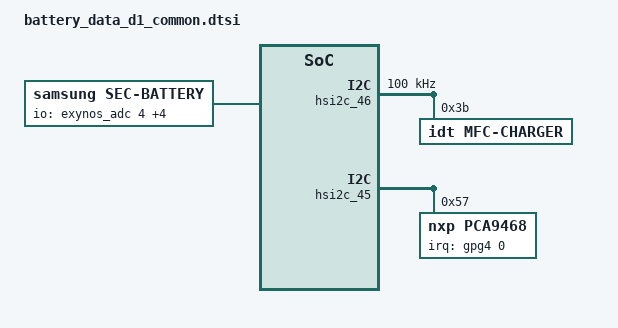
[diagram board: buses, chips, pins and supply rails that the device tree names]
/*
 * SAMSUNG UNIVERSAL9820 board device tree source
 *
 * Copyright (c) 2018 Samsung Electronics Co., Ltd.
 *		http://www.samsung.com
 *
 * This program is free software; you can redistribute it and/or modify
 * it under the terms of the GNU General Public License version 2 as
 * published by the Free Software Foundation.
 */

/ {
	fragment@battery {
		target-path = "/";
		__overlay__ {
			sec-direct-charger {
				status = "okay";
				compatible = "samsung,sec-direct-charger";

				charger,battery_name = "battery";
				charger,main_charger = "max77705-charger";
				charger,direct_charger = "pca9468-charger";

				charger,dchg_min_current = <2000>;
				charger,dchg_temp_low_threshold = <180>;
				charger,dchg_temp_high_threshold = <410>;

				charger,ta_alert_wa;
			};

			battery {
				status = "okay";
				compatible = "samsung,sec-battery";

				pinctrl-names = "default";
				/* battery,irq_gpio = <&gpa1 6 0>; */

				battery,vendor = "Battery";
				battery,charger_name = "sec-direct-charger";
				battery,fuelgauge_name = "max77705-fuelgauge";
				battery,wireless_charger_name = "mfc-charger";
				battery,technology = <2>; /* POWER_SUPPLY_TECHNOLOGY_LION */
				battery,fgsrc_switch_name = "max77705-charger"; /* Fuelgauge voltage source */

				battery,batt_data_version = <2>;

				battery,chip_vendor = "LSI";
				battery,temp_adc_type = <1>; /* SEC_BATTERY_ADC_TYPE_AP */

				battery,temp_check_type = <2>; /* SEC_BATTERY_TEMP_CHECK_TEMP */
				battery,usb_temp_check_type = <2>; /* SEC_BATTERY_TEMP_CHECK_TEMP */
				battery,chg_temp_check_type = <2>; /* SEC_BATTERY_TEMP_CHECK_TEMP */
				battery,wpc_temp_check_type = <2>; /* SEC_BATTERY_TEMP_CHECK_TEMP */
				battery,dchg_temp_check_type = <0>; /* SEC_BATTERY_TEMP_CHECK_NONE for test */

				battery,thermal_source = <2>; /* SEC_BATTERY_THERMAL_SOURCE_ADC */
				battery,usb_thermal_source = <2>; /* SEC_BATTERY_THERMAL_SOURCE_ADC */
				battery,chg_thermal_source = <2>; /* SEC_BATTERY_THERMAL_SOURCE_ADC */
				battery,wpc_thermal_source = <2>; /* SEC_BATTERY_THERMAL_SOURCE_ADC */
				battery,dchg_thermal_source = <3>; /* SEC_BATTERY_THERMAL_SOURCE_CHG_ADC */

				battery,polling_time = <10 30 30 30 3600>;

				battery,temp_table_adc = <310 358 417 483 562 654 761 886 1028 1188
					1367 1564 1783 2009 2236 2484 2707 2923 3118 3288 3427 3572 3658>;
				battery,temp_table_data = <900 850 800 750 700 650 600 550 500 450
					400 350 300 250 200 150 100 50 0 (-50) (-100) (-150) (-200)>;

				battery,usb_temp_table_adc = <281 334 392 461 542 637 746 874 1019 1183
					1365 1566 1786 2015 2249 2487 2715 2924 3114 3290 3440 3558 3670>;
				battery,usb_temp_table_data = <900 850 800 750 700 650 600 550 500 450
					400 350 300 250 200 150 100 50 0 (-50) (-100) (-150) (-200)>;

				battery,chg_temp_table_adc = <262 313 374 441 522 615 722 851 996 1159
					1341 1540 1763 1989 2221 2468 2692 2894 3105 3275 3420 3552 3660>;
				battery,chg_temp_table_data = <900 850 800 750 700 650 600 550 500 450
					400 350 300 250 200 150 100 50 0 (-50) (-100) (-150) (-200)>;

				battery,wpc_temp_table_adc = <310 358 417 483 562 654 761 886 1028 1188
					1367 1564 1783 2009 2236 2484 2707 2923 3118 3288 3427 3572 3658>;
				battery,wpc_temp_table_data = <900 850 800 750 700 650 600 550 500 450
					400 350 300 250 200 150 100 50 0 (-50) (-100) (-150) (-200)>;

				battery,dchg_temp_table_adc = <103224 124338 150144 178296 213486 253368 297942 354246 417588 490314
					570078 661572 762450 863328 968898 1081506 1182384 1273878 1374756 1454520 1520208 1581204 1628124>;
				battery,dchg_temp_table_data = <900 850 800 750 700 650 600 550 500 450
					400 350 300 250 200 150 100 50 0 (-50) (-100) (-150) (-200)>;

				battery,wireless_cc_cv = <85>;
				battery,wpc_cc_cv_vout = <5500>;
				battery,wpc_cv_call_vout = <5000>;
				battery,wpc_cc_call_vout = <5000>;
				battery,wpc_det = <&gpa2 0 0>;
				battery,wpc_en = <&gpm9 0 0>;
				battery,mst_pwr_en = <&gpf2 1 0>;
				battery,wpc_int = <&gpa3 1 0>;
				battery,hv_vout_wa = <0x41>; /* WC vout 10.0V */
				battery,adc_check_count = <5>;

				battery,cable_check_type = <4>; /* SEC_BATTERY_CABLE_CHECK_PSY */
				battery,cable_source_type = <1>; /* SEC_BATTERY_CABLE_SOURCE_EXTERNAL */
				battery,polling_type = <1>; /* SEC_BATTERY_MONITOR_ALARM */
				battery,monitor_initial_count = <0>;

				battery,battery_check_type = <0>; /* SEC_BATTERY_CHECK_NONE */
				battery,check_count = <0>;
				battery,check_adc_max = <1440>;
				battery,check_adc_min = <0>;

				battery,ovp_uvlo_check_type = <3>; /* SEC_BATTERY_OVP_UVLO_CHGPOLLING */

				battery,temp_check_count = <1>;
				battery,temp_highlimit_threshold_event = <700>;
				battery,temp_highlimit_recovery_event = <680>;
				battery,temp_high_threshold_event = <500>;
				battery,temp_high_recovery_event = <480>;
				battery,temp_low_threshold_event = <0>;
				battery,temp_low_recovery_event = <20>;
				battery,temp_highlimit_threshold_normal = <700>;
				battery,temp_highlimit_recovery_normal = <680>;
				battery,temp_high_threshold_normal = <500>;
				battery,temp_high_recovery_normal = <480>;
				battery,temp_low_threshold_normal = <0>;
				battery,temp_low_recovery_normal = <20>;
				battery,temp_highlimit_threshold_lpm = <700>;
				battery,temp_highlimit_recovery_lpm = <680>;
				battery,temp_high_threshold_lpm = <500>;
				battery,temp_high_recovery_lpm = <480>;
				battery,temp_low_threshold_lpm = <0>;
				battery,temp_low_recovery_lpm = <20>;
				battery,wpc_high_threshold_normal = <450>;
				battery,wpc_high_recovery_normal = <430>;
				battery,wpc_low_threshold_normal = <0>;
				battery,wpc_low_recovery_normal = <20>;
				battery,tx_high_threshold = <450>;
				battery,tx_high_recovery = <400>;
				battery,tx_low_threshold = <0>;
				battery,tx_low_recovery = <50>;
				battery,full_check_type = <2>; /* SEC_BATTERY_FULLCHARGED_FG_CURRENT */
				battery,full_check_type_2nd = <7>; /* SEC_BATTERY_FULLCHARGED_CHGPSY */
				battery,full_check_count = <1>;
				battery,chg_gpio_full_check = <0>;
				battery,chg_polarity_full_check = <1>;

				battery,chg_high_temp = <460>;
				battery,chg_high_temp_recovery = <440>;
				battery,chg_input_limit_current = <1000>;
				battery,chg_charging_limit_current = <1900>;
				battery,dchg_input_limit_current = <1000>;
				battery,dchg_charging_limit_current = <2000>;

				battery,charging_limit_by_tx_check = <1>;
				battery,charging_limit_current_by_tx = <1000>;

				battery,wpc_temp_control_source = <1>; /* TEMP_CONTROL_SOURCE_BAT_THM = WPC_THM */
				battery,wpc_high_temp = <410>;
				battery,wpc_high_temp_recovery = <390>;
				battery,wpc_input_limit_current = <600>;
				battery,wpc_charging_limit_current = <1000>;
				battery,wpc_temp_lcd_on_control_source = <1>; /* TEMP_CONTROL_SOURCE_BAT_THM = WPC_THM */
				battery,wpc_lcd_on_high_temp = <400>;
				battery,wpc_lcd_on_high_temp_rec = <380>;
				battery,wpc_lcd_on_input_limit_current = <450>;

				battery,wpc_store_high_temp = <360>;
				battery,wpc_store_high_temp_recovery = <340>;
				battery,wpc_store_lcd_on_high_temp = <360>;
				battery,wpc_store_lcd_on_high_temp_rec = <300>;
				battery,wpc_store_lcd_on_charging_limit_current = <400>;

				battery,wpc_vout_ctrl_lcd_on;

				battery,ta_alert_wa;

				battery,sleep_mode_limit_current = <800>;
				battery,wc_full_input_limit_current = <100>;

				battery,mix_high_temp = <420>;
				battery,mix_high_chg_temp = <500>;
				battery,mix_high_temp_recovery = <390>;

				/* SEC_BATTERY_FULL_CONDITION_NOTIMEFULL | SEC_BATTERY_FULL_CONDITION_VCELL */
				battery,full_condition_type = <9>;
				battery,full_condition_soc = <93>;
				battery,full_condition_vcell = <4300>;

				battery,recharge_check_count = <1>;
				battery,recharge_condition_type = <4>; /* SEC_BATTERY_RECHARGE_CONDITION_VCELL */
				battery,recharge_condition_soc = <98>;
				battery,recharge_condition_vcell = <4280>;

				battery,charging_total_time = <14400>;
				battery,hv_charging_total_time = <10800>;
				battery,normal_charging_total_time = <18000>;
				battery,usb_charging_total_time = <36000>;
				battery,recharging_total_time = <5400>;
				battery,charging_reset_time = <0>;

				battery,chg_float_voltage = <4350>;
				battery,chg_ocp_current = <5600>;
				battery,chg_ocp_dtc = <6>;

				battery,swelling_high_temp_block = <410>;
				battery,swelling_high_temp_recov = <390>;
				battery,swelling_wc_high_temp_block = <420>;
				battery,swelling_wc_high_temp_recov = <410>;
				battery,swelling_low_temp_block_1st = <150>;
				battery,swelling_low_temp_recov_1st = <170>;
				battery,swelling_low_temp_block_2nd = <50>;
				battery,swelling_low_temp_recov_2nd = <70>;
				battery,swelling_low_temp_3rd_ctrl;
				battery,swelling_low_temp_block_3rd = <180>;
				battery,swelling_low_temp_recov_3rd = <200>;

				battery,swelling_low_temp_current = <800>;	/* 0.24C */
				battery,swelling_low_temp_current_2nd = <300>;	/* 0.1C */
				battery,swelling_low_temp_current_3rd = <2400>;	/* 0.72C */
				battery,swelling_low_temp_topoff = <200>;	/* 0.05C */
				battery,swelling_high_temp_current = <1200>;	/* 0.36C */
				battery,swelling_high_temp_topoff = <200>;	/* 0.05C */
				battery,swelling_wc_high_temp_current = <800>;	/* 0.24C */
				battery,swelling_wc_low_temp_current = <800>;	/* 0.24C */
				battery,swelling_wc_low_temp_current_2nd = <300>;	/* 0.1C */
				battery,swelling_wc_low_temp_current_3rd = <2400>;	/* 0.72C */

				battery,swelling_drop_float_voltage = <4150>;
				battery,swelling_high_rechg_voltage = <4000>;
				battery,swelling_low_rechg_voltage = <4000>;
				battery,wa_float_voltage = <4050>;

				battery,siop_event_check_type = <1>;
				battery,siop_call_cv_current = <300>;
				battery,siop_call_cc_current = <300>;

				battery,siop_input_limit_current = <1200>;
				battery,siop_charging_limit_current = <1000>;
				battery,siop_hv_input_limit_current = <700>;
				battery,siop_hv_input_limit_current_2nd = <450>;
				battery,siop_hv_charging_limit_current = <1000>;
				battery,siop_apdo_input_limit_current = <1200>;
				battery,siop_apdo_charging_limit_current = <2000>;

				battery,siop_wireless_input_limit_current = <600>;
				battery,siop_wireless_charging_limit_current = <850>;
				battery,siop_hv_wireless_input_limit_current = <600>;
				battery,siop_hv_wireless_charging_limit_current = <850>;
				battery,siop_store_hv_wireless_input_limit_current = <450>;

				battery,ttf_hv_charge_current = <2700>;
				battery,ttf_hv_wireless_charge_current = <1375>;
				battery,ttf_wireless_charge_current = <910>;
				battery,ttf_dc25_charge_current = <3200>;

				battery,rp_current_rp1 = <500>;
				battery,rp_current_rp2 = <1500>;
				battery,rp_current_rp3 = <3000>;
				battery,rp_current_rdu_rp3 = <2100>;
				battery,rp_current_abnormal_rp3 = <1800>;

				battery,pd_charging_charge_power = <15000>;
				battery,max_charging_current = <2400>;
				battery,max_charging_charge_power = <25000>; /* 25W */
				battery,battery_full_capacity = <3500>;

				/* cycle, chg_float_voltage, recharge_condition_vcell, full_condition_vcell, full_condition_soc, step charging condition */
				battery,age_data = <0 4350 4280 4300 93 15
						300 4330 4260 4280 92 15
						400 4310 4240 4260 91 15
						700 4290 4220 4240 90 15
						1000 4240 4170 4190 89 15>;

				battery,health_condition = <
						/* CYCLE ASOC */
						900 75	/* GOOD */
						1200 65 /* NORMAL */
						1500 55 /* AGED */
						>;

				/* step charging option */
				battery,step_charging_type = <0x3E>;
				battery,step_charging_charge_power = <12000>;
				battery,step_charging_condition = <15 55 100>;
				battery,step_charging_condition_curr = <3050 2400 2400>;
				battery,step_charging_current = <3150 3050 2400>;
				battery,step_charging_float_voltage = <4130 4220 4350>;

				/* direct step charging option */
				battery,dc_step_chg_type = <0x6B>; /* origin(0x6B) */
				battery,dc_step_chg_charge_power = <22000>;
				battery,dc_step_chg_step = <3>;
				battery,dc_step_chg_cond_vol = <4130 4220 4350>; /* STEP_CHARGING_CONDITION_VOLTAGE */ 
				battery,dc_step_chg_cond_iin = <1530 1220 0>; /* STEP_CHARGING_CONDITION_INPUT_CURRENT */
				battery,dc_step_chg_iin_check_cnt = <3>;
				battery,dc_step_chg_cond_soc = <25 55 100>; /* STEP_CHARGING_CONDITION_SOC */
				battery,dc_step_chg_val_vfloat = <4130 4220 4350>; /* STEP_CHARGING_CONDITION_FLOAT_VOLTAGE */
				battery,dc_step_chg_val_iout = <3960 3060 2440>;

				battery,pre_afc_input_current = <500>; /* mA */
				battery,prepare_ta_delay = <0>; /* msec */

				battery,max_input_voltage = <9000>; /* mV */
				battery,max_input_current = <3000>;  /* mA */

				battery,enable_sysovlo_irq;
				battery,enable_noise_wa;
				battery,dis_auto_shipmode_temp_ctrl;

				battery,standard_curr = <2400>;
				battery,expired_time = <10800>;
				battery,recharging_expired_time = <5400>;

				battery,cisd_max_voltage_thr = <4400>; /* battery ovp detection voltage */

				battery,cisd_alg_index = <8>;
				battery,ignore_cisd_index = <0 640>; /* Do not use BUCK_OFF, DROP_SENSOR*/
				battery,ignore_cisd_index_d = <0 80>; /* Do not use BUCK_OFF_PER_DAY, DROP_SENSOR_PER_DAY */

				battery,tx_stop_capacity = <30>;
				battery,tx_minduty_default = <20>;
				battery,tx_minduty_5V = <50>;

				battery,tx_uno_iout = <1500>;
				battery,tx_mfc_iout_gear = <1500>;
				battery,tx_mfc_iout_phone = <1100>;
				battery,tx_mfc_iout_phone_5v = <300>;
				battery,tx_mfc_iout_lcd_on = <900>;

				io-channels = <&exynos_adc 4>, <&exynos_adc 3>, <&exynos_adc 11>, <&exynos_adc 4>, <&exynos_adc 1>;
				io-channel-names = "adc-temp", "adc-chg-temp", "adc-in-bat", "adc-wpc-temp", "adc-usb-temp";
#io-channel-cells = <5>;
				io-channel-ranges;
			};

			max77705-fuelgauge {
				status = "okay";
				fuelgauge,fuel_alert_soc = <1>;
				fuelgauge,jig_gpio = <&gpg0 0 0>;
				fuelgauge,jig_low_active;
				fuelgauge,capacity_max = <1000>;
				fuelgauge,capacity_max_margin = <300>;
				fuelgauge,capacity_min = <0>;
				fuelgauge,capacity_calculation_type = <28>;
				fuelgauge,repeated_fuelalert;
				fuelgauge,using_temp_compensation;
				fuelgauge,low_temp_limit = <100>;
				fuelgauge,using_hw_vempty;
				fuelgauge,v_empty = <0xA7E2>; /* Empty: 3260mV, Recover: 3480mV */
				fuelgauge,v_empty_origin = <0x7D54>; /* Empty: 2500mV, Recover: 3360mV */
				fuelgauge,sw_v_empty_voltage = <3200>;
				fuelgauge,sw_v_empty_voltage_cisd = <3100>;
				fuelgauge,sw_v_empty_recover_voltage = <3480>;
				fuelgauge,fg_resistor = <2>;
				fuelgauge,capacity = <0x0CE2>;
				/*fuelgauge,auto_discharge_en;*/
				fuelgauge,discharge_temp_threshold = <600>;
				fuelgauge,discharge_volt_threshold = <4200>;
				fuelgauge,ttf_capacity = <3325>;
				fuelgauge,cv_data = <
					2488	809	1809
					2409	812	1796
					2327	817	1769
					2272	820	1743
					2182	826	1721
					2104	830	1690
					2038	834	1670
					1950	839	1640
					1904	841	1622
					1838	845	1594
					1797	847	1576
					1749	850	1560
					1683	853	1531
					1660	855	1525
					1653	856	1515
					1615	858	1512
					1580	860	1509
					1553	861	1502
					1544	862	1483
					1520	863	1463
					1477	866	1458
					1431	868	1451
					1396	871	1424
					1347	874	1409
					1299	876	1383
					1267	878	1361
					1231	882	1332
					1202	884	1315
					1148	886	1288
					1109	889	1263
					1067	891	1243
					1031	894	1213
					1013	895	1185
					975	897	1156
					961	899	1140
					921	901	1111
					892	903	1084
					887	903	1064
					863	905	1038
					833	907	1019
					808	909	1004
					787	910	976
					764	912	946
					744	914	918
					730	915	904
					715	916	895
					693	917	864
					681	918	846
					666	920	828
					651	921	800
					640	922	783
					628	925	752
					622	926	735
					618	927	712
					600	930	697
					596	931	679
					584	933	664
					576	936	646
					577	937	627
					562	938	614
					511	948	601
					505	949	572
					493	951	553
					492	952	535
					484	953	506
					480	955	487
					474	956	464
					462	957	435
					456	958	417
					452	959	398
					446	961	380
					437	962	364
					429	964	355
					423	965	336
					422	966	329
					414	967	303
					411	968	282
					405	969	255
					397	970	242
					391	971	229
					387	972	211
					384	973	199
					372	975	191
					364	977	171
					356	978	140
					350	981	126
					340	985	107
					335	988	84
					327	991	54
					320	995	26
					313	998	13
					0	1000	0
					>;
			};

			/* sec_battery_cable
			 *   0	UNKNOWN,
			 *   1	NONE,
			 *   2	PREPARE_TA,
			 *   3	TA,
			 *   4	USB,
			 *   5	USB_CDP,
			 *   6	9V_TA,
			 *   7	9V_ERR,
			 *   8	9V_UNKNOWN,
			 *   9	12V_TA,
			 *  10	WIRELESS,
			 *  11	HV_WIRELESS,
			 *  12	PMA_WIRELESS,
			 *  13	WIRELESS_PACK,
			 *  14	WIRELESS_HV_PACK,
			 *  15	WIRELESS_STAND,
			 *  16	WIRELESS_HV_STAND,
			 *  17	QC20,
			 *  18	QC30,
			 *  19	PDIC,
			 *  20	UARTOFF,
			 *  21	OTG,
			 *  22	LAN_HUB,
			 *  23	POWER_SHARING,
			 *  24	HMT_CONNECTED,
			 *  25	HMT_CHARGE,
			 *  26	HV_TA_CHG_LIMIT,
			 *  27	WIRELESS_VEHICLE,
			 *  28	WIRELESS_HV_VEHICLE,
			 *  29	PREPARE_WIRELESS_HV,
			 *  30	TIMEOUT,
			 *  31	SMART_OTG,
			 *  32	SMART_NOTG,
			 *  33	WIRELESS_TX,
			 *  34	HV_WIRELESS_20,
			 *  35	HV_WIRELESS_20_LIMIT,
			 *  36	WIRELESS_FAKE,
			 *  37  PREPARE_WIRELESS_20,
			 *  38	CABLE_PDIC_APDO,
			 *  39	CABLE_MAX,
			 */

			cable-info {
				default_input_current = <1800>;
				default_charging_current = <2100>;
				full_check_current_1st = <550>;
				full_check_current_2nd = <200>;

				current_group_1 {
					cable_number = <2 19 21 22 23 30>;
					input_current = <500>;
					charging_current = <500>;
				};
				current_group_2 {
					cable_number = <25 31>;
					input_current = <1000>;
					charging_current = <1000>;
				};
				current_group_3 {
					cable_number = <5 32>;
					input_current = <1500>;
					charging_current = <1500>;
				};
				current_group_4 {
					cable_number = <6 7 8>;
					input_current = <1650>;
					charging_current = <2400>;
				};
				current_group_5 {
					cable_number = <9>;
					input_current = <1650>;
					charging_current = <2500>;
				};
				current_group_6 {
					cable_number = <10 12 15 27 33>;
					input_current = <800>;
					charging_current = <2400>;
				};
				current_group_7 {
					cable_number = <13>;
					input_current = <650>;
					charging_current = <2400>;
				};
				current_group_8 {
					cable_number = <24>;
					input_current = <1000>;
					charging_current = <450>;
				};
				current_group_9 {
					cable_number = <26>;
					input_current = <2000>;
					charging_current = <1800>;
				};
				current_group_10 {
					cable_number = <11 14 16 28 35>;
					input_current = <650>;
					charging_current = <2400>;
				};
				current_group_11 {
					cable_number = <29 36 37>;
					input_current = <500>;
					charging_current = <1400>;
				};
				current_group_12 {
					cable_number = <1 4>;
					input_current = <475>;
					charging_current = <550>;
				};
				current_group_13 {
					cable_number = <34>;
					input_current = <500>;
					charging_current = <2400>;
				};
			};
			wireless-power-info {
				current_group_0 {
					wireless_power_class = <1>;
					vout = <5500>;
					input_current_limit = <800>;
					fast_charging_current = <2400>;
					ttf_charge_current = <910>;
					rx_power = <4500>;
				};
				current_group_1 {
					wireless_power_class = <2>;
					vout = <10000>;
					input_current_limit = <650>;
					fast_charging_current = <2400>;
					ttf_charge_current = <1125>;
					rx_power = <7500>;
				};
				current_group_2 {
					wireless_power_class = <2>;
					vout = <11000>;
					input_current_limit = <1000>;
					fast_charging_current = <2400>;
					ttf_charge_current = <1900>;
					rx_power = <12000>;
				};
			};
		}; /* end of __overlay__ */
	}; /* end of fragment */
};

&pinctrl_0 {
	wpc_int: wpc-int {
		 samsung,pins = "gpa3-1";
		 samsung,pin-function = <0xf>;
		 samsung,pin-pud = <0>;
		 samsung,pin-drv = <0>;
	 };

	wpc_det: wpc-det {
		 samsung,pins = "gpa2-0";
		 samsung,pin-function = <0xf>;
		 samsung,pin-pud = <0>;
	 };
};

&pinctrl_2 {
	wpc_en: wpc-en {
		 samsung,pins = "gpm9-0";
		 samsung,pin-function = <1>;
		 samsung,pin-pud = <0>;
		 samsung,pin-drv = <0>;
	 };

	dc_cpen: dc-cpen {
		 samsung,pins = "gpm8-0";
		 samsung,pin-function = <1>;
		 samsung,pin-pud = <0>;
		 samsung,pin-drv = <0>;
	 };
};

&pinctrl_5 {
	jig_gpio: jig-gpio {
		samsung,pins = "gpg0-0";
		samsung,pin-function = <0xf>;
		samsung,pin-pud = <0>;
		samsung,pin-drv = <0>;
	};

	dc_irq: dc-irq {
		samsung,pins = "gpg4-0";
		samsung,pin-function = <0x0f>;
		samsung,pin-pud = <0>;
		samsung,pin-drv = <0>;
	};
};

&hsi2c_46 {
	#address-cells = <1>;
	#size-cells = <0>;
	status = "okay";
	samsung,stop-after-trans;
	samsung,stand-mode;
	clock-frequency = <100000>;

	mfc-charger@3b {
		compatible = "idt,mfc-charger";
		reg = <0x3b>;
		status = "okay";

		pinctrl-names = "default";
		pinctrl-0 = <&wpc_int &wpc_det &wpc_en>;

		battery,wpc_int = <&gpa3 1 0>;
		battery,wpc_det = <&gpa2 0 0>;
		battery,mst_pwr_en = <&gpf2 1 0>;

		battery,charger_name = "max77705-charger";
		battery,fuelgauge_name = "max77705-fuelgauge";
		battery,wireless_charger_name = "mfc-charger";
		battery,fod_data = <150 64 142 54 150 36 150 33 155 20 156 19>;
		battery,fod_data_cv = <150 94 142 84 150 66 150 63 155 50 156 49>;
		battery,fod_hero_5v_data = <150 2 142 (-6) 150 (-20) 150 (-28) 165 185 156 (-39)>;
		battery,wc_cover_rpp = <0x44>;
		battery,phone_fod_threshold = <0x3b>;
		battery,wireless20_vout_list = <9>; /* WIRELESS_VOUT_10V */
		battery,wireless20_vrect_list = <10>; /* MFC_AFC_CONF_12V_TX */
		battery,wireless20_max_power_list = <2>; /* SEC_WIRELESS_RX_POWER_12W  */
		battery,wpc_vout_ctrl_lcd_on;
	};
};

&hsi2c_45 {
	status = "okay";

	pca9468@57 {
		compatible = "nxp,pca9468";
		reg = <0x57>;
		pinctrl-names = "default";
		pinctrl-0     = <&dc_irq &dc_cpen>;

		pca9468,irq-gpio = <&gpg4 0 0>;
		pca9468,input-current-limit = <2550000>; /* 2.55A */
		pca9468,charging-current = <6000000>; /* 6A */
		pca9468,input-itopoff = <500000>; /* 500mA */
		pca9468,sense-resistance = <0>; /* 5mOhm */
		pca9468,switching-frequency = <3>; /* 980KHz */
		pca9468,ntc-threshold = <0>; /* disable */
		pca9468,chg_gpio_en = <&gpm8 0 0>;
		pca9468,ta-mode = <1>; /* 2:1 charging mode */
	};
};

